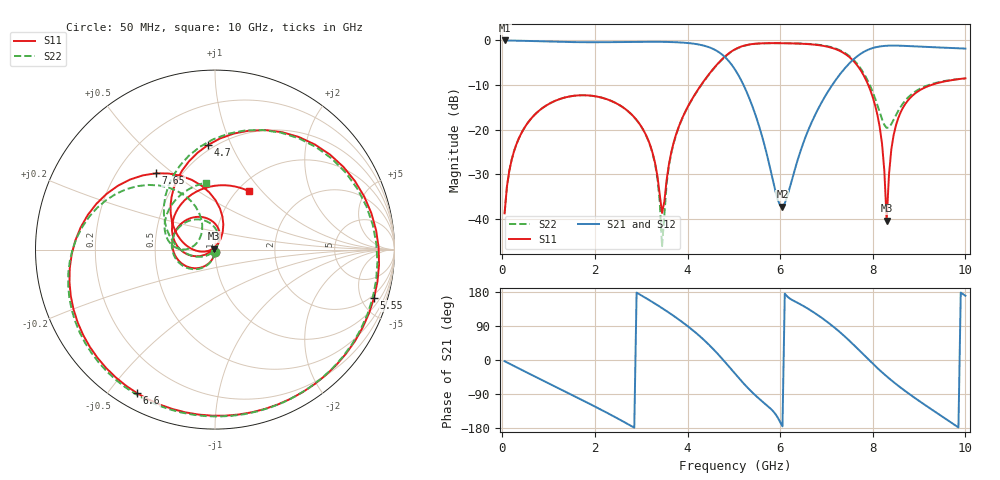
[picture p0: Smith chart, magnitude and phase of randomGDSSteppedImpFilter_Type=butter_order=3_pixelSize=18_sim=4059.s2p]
! freq	dB(S11)	phase(S11)	dB(S12)	phase(S12)
!  dB(S21)	phase(S21)	dB(S22)	phase(S22)
!S-par simulation data
#  GHz  S  DB  R 50
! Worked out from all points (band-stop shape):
!   200 points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, 50 MHz to 10 GHz, reference 50 ohm
!   highest |S21| = -0.01 dB at 50 MHz (marker M1); lowest = -37.2 dB at 6.05 GHz (marker M2)
!   |S21| within 3 dB of the highest: start of sweep to 4.726 GHz; 7.737 GHz to end of sweep
!   lowest |S11| = -40.4 dB at 8.3 GHz (marker M3), VSWR 1.02, Z = 49.3 + j0.593 ohm
!   |S11| at or under -10 dB: start of sweep to 4.29 GHz; 7.904 GHz to 9.254 GHz (1.351 GHz wide, 15.7 % of centre)
!   |S22| runs from -46.0 to -0.6 dB; largest |S21 - S12| = 0
!   S11 on the Smith chart (normalised r, x): 50 MHz: 1.00, -0.02; 4.7 GHz: 0.46, +0.82; 5.55 GHz: 1.68, -6.32; 6.6 GHz: 0.06, -0.59; 7.65 GHz: 0.37, +0.44; 10 GHz: 1.13, +0.85
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0.05  -38.68 -93.0  -0.01 -3.2  -0.01 -3.2  -38.67 -92.8
0.2  -26.79 -102.8  -0.03 -12.5  -0.03 -12.5  -26.79 -102.0
0.5  -19.19 -122.4  -0.10 -31.1  -0.10 -31.1  -19.19 -120.6
1.75  -12.26 158.9  -0.40 -107.3  -0.40 -107.3  -12.26 165.4
2.95  -18.48 81.1  -0.31 174.3  -0.31 174.3  -18.52 89.2
3.4  -34.53 77.0  -0.31 140.8  -0.31 140.8  -36.15 54.3
3.45  -38.61 117.9  -0.32 136.9  -0.32 136.9  -46.04 -13.0
3.65  -24.97 -168.9  -0.36 120.7  -0.36 120.7  -25.19 -143.7
4.1  -13.08 159.4  -0.68 79.9  -0.68 79.9  -13.16 173.4
4.7  -4.68 94.0  -2.80 9.8  -2.80 9.8  -4.76 98.4
5.05  -1.85 46.4  -6.92 -39.7  -6.92 -39.7  -1.91 45.3
5.55  -0.67 -16.8  -19.35 -102.6  -19.35 -102.6  -0.70 -23.1
6.05  -0.62 -67.9  -37.18 -175.1  -37.18 -175.1  -0.61 -75.2
6.6  -0.82 -118.6  -20.26 135.4  -20.26 135.4  -0.77 -123.1
6.7  -0.90 -127.9  -17.87 127.7  -17.87 127.7  -0.84 -131.5
7.2  -1.95 -178.2  -8.84 82.9  -8.84 82.9  -1.82 -175.6
7.65  -5.39 127.8  -3.66 32.5  -3.66 32.5  -5.08 140.6
8.1  -16.65 71.6  -1.44 -21.3  -1.44 -21.3  -14.47 114.0
8.3  -40.35 141.2  -1.19 -43.2  -1.19 -43.2  -19.58 145.2
8.35  -30.05 -153.4  -1.17 -48.3  -1.17 -48.3  -19.46 157.6
8.75  -13.54 174.9  -1.25 -86.3  -1.25 -86.3  -12.90 176.2
10  -8.48 59.8  -1.82 169.5  -1.82 169.5  -8.49 97.8
